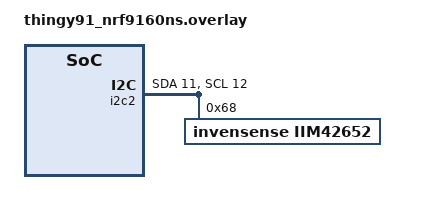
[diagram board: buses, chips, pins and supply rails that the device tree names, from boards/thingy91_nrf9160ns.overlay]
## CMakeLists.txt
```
# SPDX-License-Identifier: Apache-2.0

# Add the driver directory as a zephyr module by hand. If your driver is a
# project that's managed by west, you can remove this line.

#list(APPEND ZEPHYR_EXTRA_MODULES
#	$ENV{BASE_DIR}/drivers/iim42652
#)

#set(ZEPHYR_EXTRA_MODULES $ENV{BASE_DIR}/drivers/iim42652)


cmake_minimum_required(VERSION 3.20.0)

# required for apps
find_package(Zephyr REQUIRED HINTS $ENV{ZEPHYR_BASE})

project(application-test-local)

#zephyr_library_include_directories(.)

zephyr_include_directories(src)



# Alternatively, use a glob to include all C source files
# FILE(GLOB app_sources src/*.c)
# target_sources(app PRIVATE ${app_sources})
target_sources(app PRIVATE
	src/main.c
)
target_sources(app PRIVATE src/ixm42xxx_i2c.c)
target_sources(app PRIVATE src/ixm42xxx_util.c)
target_sources(app PRIVATE src/iim42652.c)
target_sources(app PRIVATE src/iim42652_setup.c)


# directly include drivers
#zephyr_library_include_directories(../drivers/iim42652)
#zephyr_include_directories(../drivers/iim42652)
```

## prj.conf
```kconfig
# general
CONFIG_STDOUT_CONSOLE=y
CONFIG_PRINTK=y
CONFIG_I2C=y
CONFIG_GPIO=y

# sensors
CONFIG_SENSOR=y

#CONFIG_IIM42652=y

# pwm
#CONFIG_PWM=y

#debug
#CONFIG_DEBUG=y
#CONFIG_LOG=y
#CONFIG_LOG_MODE_IMMEDIATE=y
#CONFIG_SENSOR_LOG_LEVEL_DBG=y
#CONFIG_PWM_LOG_LEVEL_DBG=y
#CONFIG_CBPRINTF_FP_SUPPORT=y
```

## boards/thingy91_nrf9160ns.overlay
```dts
&i2c2 {
	compatible = "nordic,nrf-twim";
	status = "okay";
	sda-pin = <11>;
	scl-pin = <12>;

	// TODO: Switch to I2C_BITRATE_FAST so we get 400 kHz instead of 100 kHz
	// communication? Look at documentation and power usage...
	//clock-frequency = <I2C_BITRATE_FAST>;

	iim42652_0: iim42652@68 {
		compatible = "invensense,iim42652";
		status = "okay";
		label = "IIM42652";
		reg = <0x68>;

		// GPIO pin for the interrupt
		//interrupt1-gpios = <&gpio0 8 (GPIO_ACTIVE_HIGH)>;
		//interrupt2-gpios = <&gpio0 9 (GPIO_ACTIVE_HIGH)>;
	};
};
```

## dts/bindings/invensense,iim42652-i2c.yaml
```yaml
description: |
	DeviceTree binding for the TDK Invensense IIM42652 6-DOF accelerometer + gyrometer
compatible: "invensense,iim42652-i2c"
on-bus: i2c
include: i2c-device.yaml
properties:
	accel-hz:
      type: int
      required: false
      default: 12
      description: |
        Default frequency of accelerometer. (Unit - Hz)
        Maps to ACCEL_ODR field in ACCEL_CONFIG0 setting
      enum:
        - 1
        - 3
        - 6
        - 12
        - 25
        - 50
        - 100
        - 200
        - 500
        - 1000
        - 2000
        - 4000
        - 8000

    gyro-hz:
      type: int
      required: false
      default: 12
      description: |
        Default frequency of gyroscope. (Unit - Hz)
        Maps to GYRO_ODR field in GYRO_CONFIG0 setting
      enum:
        - 12
        - 25
        - 50
        - 100
        - 200
        - 500
        - 1000
        - 2000
        - 4000
        - 8000

    accel-fs:
      type: int
      required: false
      default: 16
      description: |
        Default full scale of accelerometer. (Unit - g)
        Maps to ACCEL_FS_SEL field in ACCEL_CONFIG0 setting
      enum:
        - 16
        - 8
        - 4
        - 2

    gyro-fs:
      type: int
      required: false
      default: 2000
      description: |
        Default full scale of gyroscope. (Unit - DPS)
        Maps to GYRO_FS_SEL field in GYRO_CONFIG0 setting
      enum:
        - 2000
        - 1000
        - 500
        - 250
        - 125
        - 62.5
        - 31.25
        - 15.625
```

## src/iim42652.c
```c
/*
 * Copyright (c) 2022 Anything Connected
 *
 * SPDX-License-Identifier: Apache-2.0
 */

#define DT_DRV_COMPAT invensense_iim42652

#include <drivers/spi.h>
#include <init.h>
#include <sys/byteorder.h>
#include <drivers/sensor.h>
#include <logging/log.h>

// family-wide
#include "ixm42xxx.h"
#include "ixm42xxx_reg.h"
#include "ixm42xxx_i2c.h"
#include "ixm42xxx_util.h"

// sensor-specific
#include "iim42652_setup.h"

// TODO: now is fetched from DT (in the config down below), check if ok removing it here
//#define IIM42652_I2C_ADDRESS (0x68)

LOG_MODULE_REGISTER(IIM42652, CONFIG_SENSOR_LOG_LEVEL);

// TODO: move to kconfig or yaml ?
// TODO: check on datasheet if these value are ok for our sensor
/*static const uint16_t iim42652_gyro_sensitivity_x10[] = {
	1310, 655, 328, 164
};*/


static int iim42652_channel_get(const struct device *dev,
				enum sensor_channel chan,
				struct sensor_value *val)
{
	const struct iim42652_data *drv_data = dev->data;

	switch (chan) {
	case SENSOR_CHAN_ACCEL_XYZ:
		ixm42xxx_convert_accel(val, drv_data->accel_x,
				       drv_data->accel_sensitivity_shift);
		ixm42xxx_convert_accel(val + 1, drv_data->accel_y,
				       drv_data->accel_sensitivity_shift);
		ixm42xxx_convert_accel(val + 2, drv_data->accel_z,
				       drv_data->accel_sensitivity_shift);
		break;
	case SENSOR_CHAN_ACCEL_X:
		ixm42xxx_convert_accel(val, drv_data->accel_x,
				       drv_data->accel_sensitivity_shift);
		break;
	case SENSOR_CHAN_ACCEL_Y:
		ixm42xxx_convert_accel(val, drv_data->accel_y,
				       drv_data->accel_sensitivity_shift);
		break;
	case SENSOR_CHAN_ACCEL_Z:
		ixm42xxx_convert_accel(val, drv_data->accel_z,
				       drv_data->accel_sensitivity_shift);
		break;
	case SENSOR_CHAN_GYRO_XYZ:
		ixm42xxx_convert_gyro(val, drv_data->gyro_x,
				      drv_data->gyro_sensitivity_x10);
		ixm42xxx_convert_gyro(val + 1, drv_data->gyro_y,
				      drv_data->gyro_sensitivity_x10);
		ixm42xxx_convert_gyro(val + 2, drv_data->gyro_z,
				      drv_data->gyro_sensitivity_x10);
		break;
	case SENSOR_CHAN_GYRO_X:
		ixm42xxx_convert_gyro(val, drv_data->gyro_x,
				      drv_data->gyro_sensitivity_x10);
		break;
	case SENSOR_CHAN_GYRO_Y:
		ixm42xxx_convert_gyro(val, drv_data->gyro_y,
				      drv_data->gyro_sensitivity_x10);
		break;
	case SENSOR_CHAN_GYRO_Z:
		ixm42xxx_convert_gyro(val, drv_data->gyro_z,
				      drv_data->gyro_sensitivity_x10);
		break;
	case SENSOR_CHAN_DIE_TEMP:
		ixm42xxx_convert_temp(val, drv_data->temp);
		break;
	default:
		return -ENOTSUP;
	}

	return 0;
}

// TODO: verify FIFO data structure
static int iim42652_sample_fetch(const struct device *dev,
				 enum sensor_channel chan)
{
	int result = 0;
	uint16_t fifo_count = 0;
	struct iim42652_data *drv_data = dev->data;

	// TODO: read i2c

	// Read INT_STATUS (0x45) and FIFO_COUNTH(0x46), FIFO_COUNTL(0x47)
	//result = inv_spi_read(MPUREG_INT_STATUS, drv_data->fifo_data, 3);

	if (drv_data->fifo_data[0] & BIT_INT_STATUS_DRDY) {
		fifo_count = (drv_data->fifo_data[1] << 8)
			+ (drv_data->fifo_data[2]);

		//result = inv_spi_read(MPUREG_FIFO_DATA, drv_data->fifo_data,
		//		      fifo_count);

		/* FIFO Data structure
		 * Packet 1 : FIFO Header(1), AccelX(2), AccelY(2),
		 *            AccelZ(2), Temperature(1)
		 * Packet 2 : FIFO Header(1), GyroX(2), GyroY(2),
		 *            GyroZ(2), Temperature(1)
		 * Packet 3 : FIFO Header(1), AccelX(2), AccelY(2), AccelZ(2),
		 *            GyroX(2), GyroY(2), GyroZ(2), Temperature(1)
		 */
		if (drv_data->fifo_data[0] & BIT_FIFO_HEAD_ACCEL) {
			/* Check empty values */
			if (!(drv_data->fifo_data[1] == FIFO_ACCEL0_RESET_VALUE
			      && drv_data->fifo_data[2] ==
			      FIFO_ACCEL1_RESET_VALUE)) {
				drv_data->accel_x =
					(drv_data->fifo_data[1] << 8)
					+ (drv_data->fifo_data[2]);
				drv_data->accel_y =
					(drv_data->fifo_data[3] << 8)
					+ (drv_data->fifo_data[4]);
				drv_data->accel_z =
					(drv_data->fifo_data[5] << 8)
					+ (drv_data->fifo_data[6]);
			}
			if (!(drv_data->fifo_data[0] & BIT_FIFO_HEAD_GYRO)) {
				drv_data->temp =
					(int16_t)(drv_data->fifo_data[7]);
			} else {
				if (!(drv_data->fifo_data[7] ==
				      FIFO_GYRO0_RESET_VALUE &&
				      drv_data->fifo_data[8] ==
				      FIFO_GYRO1_RESET_VALUE)) {
					drv_data->gyro_x =
						(drv_data->fifo_data[7] << 8)
						+ (drv_data->fifo_data[8]);
					drv_data->gyro_y =
						(drv_data->fifo_data[9] << 8)
						+ (drv_data->fifo_data[10]);
					drv_data->gyro_z =
						(drv_data->fifo_data[11] << 8)
						+ (drv_data->fifo_data[12]);
				}
				drv_data->temp =
					(int16_t)(drv_data->fifo_data[13]);
			}
		} else {
			if (drv_data->fifo_data[0] & BIT_FIFO_HEAD_GYRO) {
				if (!(drv_data->fifo_data[1] ==
				      FIFO_GYRO0_RESET_VALUE &&
				      drv_data->fifo_data[2] ==
				      FIFO_GYRO1_RESET_VALUE)) {
					drv_data->gyro_x =
						(drv_data->fifo_data[1] << 8)
						+ (drv_data->fifo_data[2]);
					drv_data->gyro_y =
						(drv_data->fifo_data[3] << 8)
						+ (drv_data->fifo_data[4]);
					drv_data->gyro_z =
						(drv_data->fifo_data[5] << 8)
						+ (drv_data->fifo_data[6]);
				}
				drv_data->temp =
					(int16_t)(drv_data->fifo_data[7]);
			}
		}
	}

	return 0;
}

static int iim42652_data_init(struct iim42652_data *data,
			      const struct iim42652_config *cfg)
{
	data->accel_x = 0;
	data->accel_y = 0;
	data->accel_z = 0;
	data->temp = 0;
	data->gyro_x = 0;
	data->gyro_y = 0;
	data->gyro_z = 0;
	//data->accel_hz = cfg->accel_hz;
	//data->gyro_hz = cfg->gyro_hz;

	//data->accel_sf = cfg->accel_fs;
	//data->gyro_sf = cfg->gyro_fs;

	data->tap_en = false;
	data->sensor_started = false;

	return 0;
}

static int iim42652_init(const struct device *dev)
{
	struct iim42652_data *drv_data = dev->data;
	const struct iim42652_config *cfg = dev->config;

	// TODO: ported to i2c, check if working
	drv_data->i2c = device_get_binding(cfg->i2c_label);
	if (!drv_data->i2c) {
		LOG_ERR("I2C device not exist");
		return -ENODEV;
	}

	ixm42xxx_i2c_init(drv_data->i2c, cfg->addr);
	ixm42xxx_data_init(drv_data, cfg);
	// TODO: inside need to update to use i2c
	iim42652_sensor_init(dev);	// in _setup.h, incl who_am_I check (or check chip ID)

	//drv_data->accel_sensitivity_shift = 14 - 3;
	//drv_data->gyro_sensitivity_x10 = iim42652_gyro_sensitivity_x10[3];

	// TODO: interrupts
	/*if (icm42605_init_interrupt(dev) < 0) {
		LOG_ERR("Failed to initialize interrupts.");
		return -EIO;
	}
	LOG_DBG("Initialize interrupt done");
	*/

	return 0;
}

static const struct sensor_driver_api iim42652_driver_api = {
	//.trigger_set = iim42652_trigger_set,
	.sample_fetch = iim42652_sample_fetch,
	.channel_get = iim42652_channel_get,
	.attr_set = ixm42xxx_attr_set,
	.attr_get = ixm42xxx_attr_get,
};

// DEVICETREE driver howto
// https://docs.zephyrproject.org/latest/build/dts/howtos.html#option-1-create-devices-using-instance-numbers

// TODO: find out sensor i2c max frequency .frequency = DT_INST_PROP(index, i2c_max_frequency),
// TODO: all the config below
/*.int_label = DT_INST_GPIO_LABEL(index, int_gpios)
		.int_pin =  DT_INST_GPIO_PIN(index, int_gpios)
		.int_flags = DT_INST_GPIO_FLAGS(index, int_gpios)
		.gpio_label = DT_INST_SPI_DEV_CS_GPIOS_LABEL(index)
		.gpio_pin = DT_INST_SPI_DEV_CS_GPIOS_PIN(index)
		.gpio_dt_flags = DT_INST_SPI_DEV_CS_GPIOS_FLAGS(index)*/
#define IIM42652_DEFINE_CONFIG(index)					\
	static const struct iim42652_config iim42652_cfg_##index = {	\
		.i2c_label = DT_INST_BUS_LABEL(index),			\
		.addr = DT_INST_REG_ADDR(index),			\
		.accel_hz = DT_INST_PROP(index, accel_hz),		\
		.gyro_hz = DT_INST_PROP(index, gyro_hz),		\
		.accel_fs = DT_ENUM_IDX(DT_DRV_INST(index), accel_fs),	\
		.gyro_fs = DT_ENUM_IDX(DT_DRV_INST(index), gyro_fs),	\
	}

// TODO: find out about the first NULL below .... pm_control_fn (Power management) is it useful for our sensor?
#define IIM42652_INIT(index)						\
	IIM42652_DEFINE_CONFIG(index);					\
	static struct iim42652_data iim42652_driver_##index;		\
	DEVICE_DT_INST_DEFINE(index, iim42652_init,			\
			    NULL,					\
			    &iim42652_driver_##index,			\
			    &iim42652_cfg_##index, \
				POST_KERNEL,		\
			    CONFIG_SENSOR_INIT_PRIORITY,		\
			    &iim42652_driver_api);


// ENTRY POINT: calls the above macros

DT_INST_FOREACH_STATUS_OKAY(IIM42652_INIT)
```

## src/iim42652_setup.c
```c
/*
 * Copyright (c) 2022 Anything Connected
 *
 * SPDX-License-Identifier: Apache-2.0
 */

#include <sys/byteorder.h>
#include <drivers/sensor.h>
#include <logging/log.h>

#include "ixm42xxx.h"
#include "ixm42xxx_reg.h"
#include "ixm42xxx_i2c.h"

// TODO: convert all bus calls to I2C

LOG_MODULE_DECLARE(IIM42652, CONFIG_SENSOR_LOG_LEVEL);

int iim42652_sensor_init(const struct device *dev)
{
	struct iim42652_data *drv_data = dev->data;

	int result = 0;
	uint8_t v;

	/* check chip ID */
	// TODO: add later check of ID against the expected one for this sensor
	if (i2c_reg_read_byte_ixm42xxx(drv_data->i2c, MPUREG_WHO_AM_I, &v) < 0) {
		//LOG_ERR("Failed to read chip ID.");
		return -EIO;
	}
	//LOG_DBG("WHO AM I : 0x%X", v);


	/* TODO: change all to i2c
	result = inv_spi_read(MPUREG_DEVICE_CONFIG, &v, 1);
	if (result) {
		LOG_DBG("read REG_DEVICE_CONFIG_REG failed");
		return result;
	}*/


	/* TODO: change all to i2c and put the correct prcedure

	v |= BIT_SOFT_RESET;
	result = inv_spi_single_write(MPUREG_DEVICE_CONFIG, &v);
	if (result) {
		LOG_ERR("write REG_DEVICE_CONFIG failed");
		return result;
	}

	// TBC.... Need at least 10ms after soft reset
	k_msleep(10);

	v = BIT_GYRO_AFSR_MODE_HFS | BIT_ACCEL_AFSR_MODE_HFS | BIT_CLK_SEL_PLL;
	result = inv_spi_single_write(REG_INTF_CONFIG1, &v);
	if (result) {
		LOG_ERR("write REG_INTF_CONFIG1 failed");
		return result;
	}

	v = BIT_EN_DREG_FIFO_D2A |
	    BIT_TMST_TO_REGS_EN |
	    BIT_TMST_EN;
	result = inv_spi_single_write(REG_TMST_CONFIG, &v);
	if (result) {
		LOG_ERR("Write REG_TMST_CONFIG failed");
		return result;
	}

	result = inv_spi_read(REG_INTF_CONFIG0, &v, 1);
	if (result) {
		LOG_ERR("Read REG_INTF_CONFIG0 failed");
		return result;
	}

	LOG_DBG("Read REG_INTF_CONFIG0 0x%X", v);

	v |= BIT_UI_SIFS_DISABLE_I2C;
	result = inv_spi_single_write(REG_INTF_CONFIG0, &v);
	if (result) {
		LOG_ERR("Write REG_INTF_CONFIG failed");
		return result;
	}

	v = 0;
	result = inv_spi_single_write(REG_INT_CONFIG1, &v);
	if (result)
		return result;

	result = inv_spi_single_write(REG_PWR_MGMT0, &v);
	if (result)
		return result;
	*/

	return 0;
}

/*int icm42605_set_fs(const struct device *dev, uint16_t a_sf, uint16_t g_sf)
{
	uint8_t databuf;
	int result;

	result = inv_spi_read(REG_ACCEL_CONFIG0, &databuf, 1);
	if (result) {
		return result;
	}
	databuf &= ~BIT_ACCEL_FSR;

	databuf |= a_sf;

	result = inv_spi_single_write(REG_ACCEL_CONFIG0, &databuf);

	result = inv_spi_read(REG_GYRO_CONFIG0, &databuf, 1);

	if (result) {
		return result;
	}

	databuf &= ~BIT_GYRO_FSR;
	databuf |= g_sf;

	result = inv_spi_single_write(REG_GYRO_CONFIG0, &databuf);

	if (result) {
		return result;
	}

	return 0;
}

int icm42605_set_odr(const struct device *dev, uint16_t a_rate, uint16_t g_rate)
{
	uint8_t databuf;
	int result;

	if (a_rate > 8000 || g_rate > 8000 ||
	    a_rate < 1 || g_rate < 12) {
		LOG_ERR("Not supported frequency");
		return -ENOTSUP;
	}

	result = inv_spi_read(REG_ACCEL_CONFIG0, &databuf, 1);

	if (result) {
		return result;
	}

	databuf &= ~BIT_ACCEL_ODR;

	if (a_rate > 4000) {
		databuf |= BIT_ACCEL_ODR_8000;
	} else if (a_rate > 2000) {
		databuf |= BIT_ACCEL_ODR_4000;
	} else if (a_rate > 1000) {
		databuf |= BIT_ACCEL_ODR_2000;
	} else if (a_rate > 500) {
		databuf |= BIT_ACCEL_ODR_1000;
	} else if (a_rate > 200) {
		databuf |= BIT_ACCEL_ODR_500;
	} else if (a_rate > 100) {
		databuf |= BIT_ACCEL_ODR_200;
	} else if (a_rate > 50) {
		databuf |= BIT_ACCEL_ODR_100;
	} else if (a_rate > 25) {
		databuf |= BIT_ACCEL_ODR_50;
	} else if (a_rate > 12) {
		databuf |= BIT_ACCEL_ODR_25;
	} else if (a_rate > 6) {
		databuf |= BIT_ACCEL_ODR_12;
	} else if (a_rate > 3) {
		databuf |= BIT_ACCEL_ODR_6;
	} else if (a_rate > 1) {
		databuf |= BIT_ACCEL_ODR_3;
	} else {
		databuf |= BIT_ACCEL_ODR_1;
	}

	result = inv_spi_single_write(REG_ACCEL_CONFIG0, &databuf);

	if (result) {
		return result;
	}

	LOG_DBG("Write Accel ODR 0x%X", databuf);

	result = inv_spi_read(REG_GYRO_CONFIG0, &databuf, 1);

	if (result) {
		return result;
	}

	databuf &= ~BIT_GYRO_ODR;

	if (g_rate > 4000) {
		databuf |= BIT_GYRO_ODR_8000;
	} else if (g_rate > 2000) {
		databuf |= BIT_GYRO_ODR_4000;
	} else if (g_rate > 1000) {
		databuf |= BIT_GYRO_ODR_2000;
	} else if (g_rate > 500) {
		databuf |= BIT_GYRO_ODR_1000;
	} else if (g_rate > 200) {
		databuf |= BIT_GYRO_ODR_500;
	} else if (g_rate > 100) {
		databuf |= BIT_GYRO_ODR_200;
	} else if (g_rate > 50) {
		databuf |= BIT_GYRO_ODR_100;
	} else if (g_rate > 25) {
		databuf |= BIT_GYRO_ODR_50;
	} else if (g_rate > 12) {
		databuf |= BIT_GYRO_ODR_25;
	} else {
		databuf |= BIT_GYRO_ODR_12;
	}

	LOG_DBG("Write GYRO ODR 0x%X", databuf);

	result = inv_spi_single_write(REG_GYRO_CONFIG0, &databuf);
	if (result) {
		return result;
	}

	return result;
}

int icm42605_turn_on_fifo(const struct device *dev)
{
	const struct icm42605_data *drv_data = dev->data;

	uint8_t int0_en = BIT_INT_UI_DRDY_INT1_EN;
	uint8_t fifo_en = BIT_FIFO_ACCEL_EN | BIT_FIFO_GYRO_EN | BIT_FIFO_WM_TH;
	uint8_t burst_read[3];
	int result;
	uint8_t v = 0;

	v = BIT_FIFO_MODE_BYPASS;
	result = inv_spi_single_write(REG_FIFO_CONFIG, &v);
	if (result) {
		return result;
	}

	v = 0;
	result = inv_spi_single_write(REG_FIFO_CONFIG1, &v);
	if (result) {
		return result;
	}

	result = inv_spi_read(REG_FIFO_COUNTH, burst_read, 2);
	if (result) {
		return result;
	}

	result = inv_spi_read(REG_FIFO_DATA, burst_read, 3);
	if (result) {
		return result;
	}

	v = BIT_FIFO_MODE_STREAM;
	result = inv_spi_single_write(REG_FIFO_CONFIG, &v);
	if (result) {
		return result;
	}

	result = inv_spi_single_write(REG_FIFO_CONFIG1, &fifo_en);
	if (result) {
		return result;
	}

	result = inv_spi_single_write(REG_INT_SOURCE0, &int0_en);
	if (result) {
		return result;
	}

	if (drv_data->tap_en) {
		v = BIT_TAP_ENABLE;
		result = inv_spi_single_write(REG_APEX_CONFIG0, &v);
		if (result) {
			return result;
		}

		v = BIT_DMP_INIT_EN;
		result = inv_spi_single_write(REG_SIGNAL_PATH_RESET, &v);
		if (result) {
			return result;
		}

		v = BIT_BANK_SEL_4;
		result = inv_spi_single_write(REG_BANK_SEL, &v);
		if (result) {
			return result;
		}

		v = BIT_INT_STATUS_TAP_DET;
		result = inv_spi_single_write(REG_INT_SOURCE6, &v);
		if (result) {
			return result;
		}

		v = BIT_BANK_SEL_0;
		result = inv_spi_single_write(REG_BANK_SEL, &v);
		if (result) {
			return result;
		}
	}

	LOG_DBG("turn on fifo done");
	return 0;
}

int icm42605_turn_off_fifo(const struct device *dev)
{
	const struct icm42605_data *drv_data = dev->data;

	uint8_t int0_en = 0;
	uint8_t burst_read[3];
	int result;
	uint8_t v = 0;

	v = BIT_FIFO_MODE_BYPASS;
	result = inv_spi_single_write(REG_FIFO_CONFIG, &v);
	if (result) {
		return result;
	}

	v = 0;
	result = inv_spi_single_write(REG_FIFO_CONFIG1, &v);
	if (result) {
		return result;
	}

	result = inv_spi_read(REG_FIFO_COUNTH, burst_read, 2);
	if (result) {
		return result;
	}

	result = inv_spi_read(REG_FIFO_DATA, burst_read, 3);
	if (result) {
		return result;
	}

	result = inv_spi_single_write(REG_INT_SOURCE0, &int0_en);
	if (result) {
		return result;
	}

	if (drv_data->tap_en) {
		v = 0;
		result = inv_spi_single_write(REG_APEX_CONFIG0, &v);
		if (result) {
			return result;
		}

		result = inv_spi_single_write(REG_SIGNAL_PATH_RESET, &v);
		if (result) {
			return result;
		}

		v = BIT_BANK_SEL_4;
		result = inv_spi_single_write(REG_BANK_SEL, &v);
		if (result) {
			return result;
		}

		v = 0;
		result = inv_spi_single_write(REG_INT_SOURCE6, &v);
		if (result) {
			return result;
		}

		v = BIT_BANK_SEL_0;
		result = inv_spi_single_write(REG_BANK_SEL, &v);
		if (result) {
			return result;
		}
	}

	return 0;
}

int icm42605_turn_on_sensor(const struct device *dev)
{
	struct icm42605_data *drv_data = dev->data;

	uint8_t v = 0;
	int result = 0;


	if (drv_data->sensor_started) {
		LOG_ERR("Sensor already started");
		return -EALREADY;
	}

	icm42605_set_fs(dev, drv_data->accel_sf, drv_data->gyro_sf);

	icm42605_set_odr(dev, drv_data->accel_hz, drv_data->gyro_hz);

	v |= BIT_ACCEL_MODE_LNM;
	v |= BIT_GYRO_MODE_LNM;

	result = inv_spi_single_write(REG_PWR_MGMT0, &v);
	if (result) {
		return result;
	}

	// Accelerometer sensor need at least 10ms startup time
	// Gyroscope sensor need at least 30ms startup time
	k_msleep(100);

	icm42605_turn_on_fifo(dev);

	drv_data->sensor_started = true;

	return 0;
}

int icm42605_turn_off_sensor(const struct device *dev)
{
	uint8_t v = 0;
	int result = 0;

	result = inv_spi_read(REG_PWR_MGMT0, &v, 1);

	v ^= BIT_ACCEL_MODE_LNM;
	v ^= BIT_GYRO_MODE_LNM;

	result = inv_spi_single_write(REG_PWR_MGMT0, &v);
	if (result) {
		return result;
	}

	// Accelerometer sensor need at least 10ms startup time
	// Gyroscope sensor need at least 30ms startup time
	k_msleep(100);

	icm42605_turn_off_fifo(dev);

	return 0;
}*/
```

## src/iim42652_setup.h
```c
/*
 * Copyright (c) 2022 Anything Connected
 *
 * SPDX-License-Identifier: Apache-2.0
 */

#ifndef ZEPHYR_DRIVERS_SENSOR_IXM42XXX_IIM42652_SETUP_H_
#define ZEPHYR_DRIVERS_SENSOR_IXM42XXX_IIM42652_SETUP_H_

#include <device.h>

int iim42652_sensor_init(const struct device *dev);
/*int icm42605_turn_on_fifo(const struct device *dev);
int icm42605_turn_off_fifo(const struct device *dev);
int icm42605_turn_off_sensor(const struct device *dev);
int icm42605_turn_on_sensor(const struct device *dev);
int icm42605_set_odr(const struct device *dev, int a_rate, int g_rate);
*/

#endif /* __SENSOR_IXM42XXX_IIM42652_SETUP__ */
```

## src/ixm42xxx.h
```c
/*
 * Copyright (c) 2020 Anything Connected
 *
 * SPDX-License-Identifier: Apache-2.0
 */

#ifndef ZEPHYR_DRIVERS_SENSOR_IXM42XXX_IIM42652_H_
#define ZEPHYR_DRIVERS_SENSOR_IXM42XXX_IIM42652_H_

#include <device.h>
#include <drivers/gpio.h>
#include <drivers/i2c.h>
#include <drivers/spi.h>
#include <sys/util.h>
#include <zephyr/types.h>

#include "ixm42xxx_reg.h"

// TODO add support for triggers

// TODO check if valid for any device of the family
enum {
	GYRO_FS_2000DPS = 0,
	GYRO_FS_1000DPS,
	GYRO_FS_500DPS,
	GYRO_FS_250DPS,
	GYRO_FS_125DPS,
	GYRO_FS_62DPS,
	GYRO_FS_32DPS,
	GYRO_FS_15DPS,
};

enum {
	ACCEL_FS_16G = 0,
	ACCEL_FS_8G,
	ACCEL_FS_4G,
	ACCEL_FS_2G,
};

struct iim42652_data {
	// TODO keep one, call it *bus, and generalize all code
	const struct device *spi;
	const struct device *i2c;

	uint8_t fifo_data[HARDWARE_FIFO_SIZE];

	int16_t accel_x;
	int16_t accel_y;
	int16_t accel_z;
	uint16_t accel_sensitivity_shift;
	//uint16_t accel_hz;
	//uint16_t accel_sf;

	int16_t temp;

	int16_t gyro_x;
	int16_t gyro_y;
	int16_t gyro_z;
	uint16_t gyro_sensitivity_x10;
	//uint16_t gyro_hz;
	//uint16_t gyro_sf;

	bool accel_en;
	bool gyro_en;
	bool tap_en;

	bool sensor_started;

	const struct device *dev;
	const struct device *gpio;
	struct gpio_callback gpio_cb;

	// TODO: study and understand implications
	//K_KERNEL_STACK_MEMBER(thread_stack, CONFIG_IXM42XXX_THREAD_STACK_SIZE);
	struct k_thread thread;
	struct k_sem gpio_sem;

	//struct spi_cs_control spi_cs;
	struct spi_config spi_cfg;
};

struct iim42652_config {
	// TODO keep one, call it *bus_label, and generalize all code
	// NEW: extended to support spi and i2c
	const char *i2c_label;	// one label or the other will be used
	//const char *spi_label;
	uint16_t addr;			// this is i2c or spi address, depending on sensor selection

	//uint32_t frequency;
	//uint32_t slave;
	/*uint8_t int_pin;
	uint8_t int_flags;
	const char *int_label;
	const char *gpio_label;
	gpio_pin_t gpio_pin;
	gpio_dt_flags_t gpio_dt_flags;*/
	uint16_t accel_hz;
	uint16_t gyro_hz;
	uint16_t accel_fs;
	uint16_t gyro_fs;
};

#endif /* __SENSOR_IIM42652__ */
```

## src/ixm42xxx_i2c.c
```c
/*
 * Copyright (c) 2022 Anything Connected
 *
 * SPDX-License-Identifier: Apache-2.0
 */

#include <device.h>
#include <drivers/i2c.h>
#include <logging/log.h>
//#include <sys/__assert.h>

#include "ixm42xxx.h"
#include "ixm42xxx_reg.h"

// TODO: check if format of the name is ok
LOG_MODULE_DECLARE(IXM42XXX, CONFIG_SENSOR_LOG_LEVEL);


static const struct device *i2c_dev;
static uint16_t i2c_addr;

int ixm42xxx_i2c_init(const struct device *i2c_device, uint16_t *addr)
{
	__ASSERT_NO_MSG(i2c_device);
	i2c_dev = i2c_device;
	i2c_addr = &addr;
	return 0;
}

// TODO: NEW to be tested
int i2c_reg_read_byte_ixm42xxx(struct device *dev, uint8_t reg_addr, uint8_t *value) {

	if(i2c_reg_read_byte(i2c_dev, i2c_addr, reg_addr, *value) < 0)
		return -EIO;

	return 0;

}


// this was originally from kevin code

// Generic I2C <start><write><repeated start><read><stop>.
// One buffer is used for TX and RX so you better make it
// large enough for both operations.
int i2c_write_read_handler_iim42652(struct device *dev, uint8_t *p_data, uint8_t tx_size, uint8_t rx_size) {
	struct iim42652_data *dev_data = dev->data;

	// TODO: addr now retrived as pointer... check if working
	int err = i2c_write(dev_data->i2c, p_data, tx_size, i2c_addr);
	if (err) {
		LOG_ERR("Failed to send i2c data! Error code: %i", err);
		return err;
	}

	err = i2c_read(dev_data->i2c, p_data, rx_size, i2c_addr);
	if (err) {
		LOG_ERR("Failed to read i2c data! Error code: %i", err);
		return err;
	}

	return 0;
}



// TODO: understand and implement burst read if needed, ported from elsewhere

/*static int ixm42xxx_reg_read_i2c(const union bme280_bus *bus, uint8_t start, uint8_t *buf, int size) {
	return i2c_burst_read_dt(&bus->i2c, start, buf, size);
}

static int ixm42xxx_reg_write_i2c(const union bme280_bus *bus, uint8_t reg, uint8_t val) {
	return i2c_reg_write_byte_dt(&bus->i2c, reg, val);
}*/
/*const struct bme280_bus_io bme280_bus_io_i2c = {
	.check = bme280_bus_check_i2c,
	.read = bme280_reg_read_i2c,
	.write = bme280_reg_write_i2c,
};*/
```

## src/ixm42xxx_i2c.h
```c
/*
 * Copyright (c) 2022 Anything Connected
 *
 * SPDX-License-Identifier: Apache-2.0
 */

#ifndef ZEPHYR_DRIVERS_SENSOR_IXM42XXX_IXM42XXX_I2C_H_
#define ZEPHYR_DRIVERS_SENSOR_IXM42XXX_IXM42XXX_I2C_H_

#include <device.h>

// old from spi
//int inv_i2c_single_write(uint8_t reg, uint8_t *data);
//int inv_i2c_read(uint8_t reg, uint8_t *data, size_t len);

int ixm42xxx_i2c_init(const struct device *spi_device,
		    const struct spi_config *spi_config);

int i2c_write_read_handler(uint8_t *p_data,
			uint8_t tx_size, uint8_t rx_size);

int i2c_reg_read_byte_ixm42xxx(struct device *dev,
			uint8_t reg_addr, uint8_t *value);

#endif /* __SENSOR_IXM42XXX_IXM42XXX_I2C__ */
```

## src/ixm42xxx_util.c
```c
#include "ixm42xxx.h"
#include "ixm42xxx_reg.h"
#include "ixm42xxx_util.h"

/* see "Accelerometer Measurements" section from register map description */
static void ixm42xxx_convert_accel(struct sensor_value *val,
				   int16_t raw_val,
				   uint16_t sensitivity_shift)
{
	int64_t conv_val;

	conv_val = ((int64_t)raw_val * SENSOR_G) >> sensitivity_shift;
	val->val1 = conv_val / 1000000;
	val->val2 = conv_val % 1000000;
}

/* see "Gyroscope Measurements" section from register map description */
static void ixm42xxx_convert_gyro(struct sensor_value *val,
				  int16_t raw_val,
				  uint16_t sensitivity_x10)
{
	int64_t conv_val;

	conv_val = ((int64_t)raw_val * SENSOR_PI * 10) /
		   (sensitivity_x10 * 180U);
	val->val1 = conv_val / 1000000;
	val->val2 = conv_val % 1000000;
}

/* see "Temperature Measurement" section from register map description */
static inline void ixm42xxx_convert_temp(struct sensor_value *val,
					 int16_t raw_val)
{
	val->val1 = (((int64_t)raw_val * 100) / 207) + 25;
	val->val2 = ((((int64_t)raw_val * 100) % 207) * 1000000) / 207;

	if (val->val2 < 0) {
		val->val1--;
		val->val2 += 1000000;
	} else if (val->val2 >= 1000000) {
		val->val1++;
		val->val2 -= 1000000;
	}
}


static int ixm42xxx_attr_set(const struct device *dev,
			     enum sensor_channel chan,
			     enum sensor_attribute attr,
			     const struct sensor_value *val)
{
	struct iim42652_config *drv_config = dev->config;

	__ASSERT_NO_MSG(val != NULL);

	switch (chan) {
	case SENSOR_CHAN_ACCEL_X:
	case SENSOR_CHAN_ACCEL_Y:
	case SENSOR_CHAN_ACCEL_Z:
	case SENSOR_CHAN_ACCEL_XYZ:
		if (attr == SENSOR_ATTR_SAMPLING_FREQUENCY) {
			if (val->val1 > 8000 || val->val1 < 1) {
				LOG_ERR("Incorrect sampling value");
				return -EINVAL;
			} else {
				drv_config->accel_hz = val->val1;
			}
		} else if (attr == SENSOR_ATTR_FULL_SCALE) {
			if (val->val1 < ACCEL_FS_16G ||
			    val->val1 > ACCEL_FS_2G) {
				LOG_ERR("Incorrect fullscale value");
				return -EINVAL;
			} else {
				drv_config->accel_fs = val->val1;
			}
		} else {
			LOG_ERR("Not supported ATTR");
			return -ENOTSUP;
		}

		break;
	case SENSOR_CHAN_GYRO_X:
	case SENSOR_CHAN_GYRO_Y:
	case SENSOR_CHAN_GYRO_Z:
	case SENSOR_CHAN_GYRO_XYZ:
		if (attr == SENSOR_ATTR_SAMPLING_FREQUENCY) {
			if (val->val1 > 8000 || val->val1 < 12) {
				LOG_ERR("Incorrect sampling value");
				return -EINVAL;
			} else {
				drv_config->gyro_hz = val->val1;
			}
		} else if (attr == SENSOR_ATTR_FULL_SCALE) {
			if (val->val1 < GYRO_FS_2000DPS ||
			    val->val1 > GYRO_FS_15DPS) {
				LOG_ERR("Incorrect fullscale value");
				return -EINVAL;
			} else {
				drv_config->gyro_fs = val->val1;
			}
		} else {
			LOG_ERR("Not supported ATTR");
			return -EINVAL;
		}
		break;
	default:
		LOG_ERR("Not support");
		return -EINVAL;
	}

	return 0;
}


static int ixm42xxx_attr_get(const struct device *dev,
			     enum sensor_channel chan,
			     enum sensor_attribute attr,
			     struct sensor_value *val)
{
	const struct iim42652_config *drv_config = dev->config;

	__ASSERT_NO_MSG(val != NULL);

	switch (chan) {
	case SENSOR_CHAN_ACCEL_X:
	case SENSOR_CHAN_ACCEL_Y:
	case SENSOR_CHAN_ACCEL_Z:
	case SENSOR_CHAN_ACCEL_XYZ:
		if (attr == SENSOR_ATTR_SAMPLING_FREQUENCY) {
			val->val1 = drv_config->accel_hz;
		} else if (attr == SENSOR_ATTR_FULL_SCALE) {
			val->val1 = drv_config->accel_fs;
		} else {
			LOG_ERR("Not supported ATTR");
			return -EINVAL;
		}

		break;
	case SENSOR_CHAN_GYRO_X:
	case SENSOR_CHAN_GYRO_Y:
	case SENSOR_CHAN_GYRO_Z:
	case SENSOR_CHAN_GYRO_XYZ:
		if (attr == SENSOR_ATTR_SAMPLING_FREQUENCY) {
			val->val1 = drv_config->gyro_hz;
		} else if (attr == SENSOR_ATTR_FULL_SCALE) {
			val->val1 = drv_config->gyro_fs;
		} else {
			LOG_ERR("Not supported ATTR");
			return -EINVAL;
		}

		break;

	default:
		LOG_ERR("Not support");
		return -EINVAL;
	}

	return 0;
}
```
